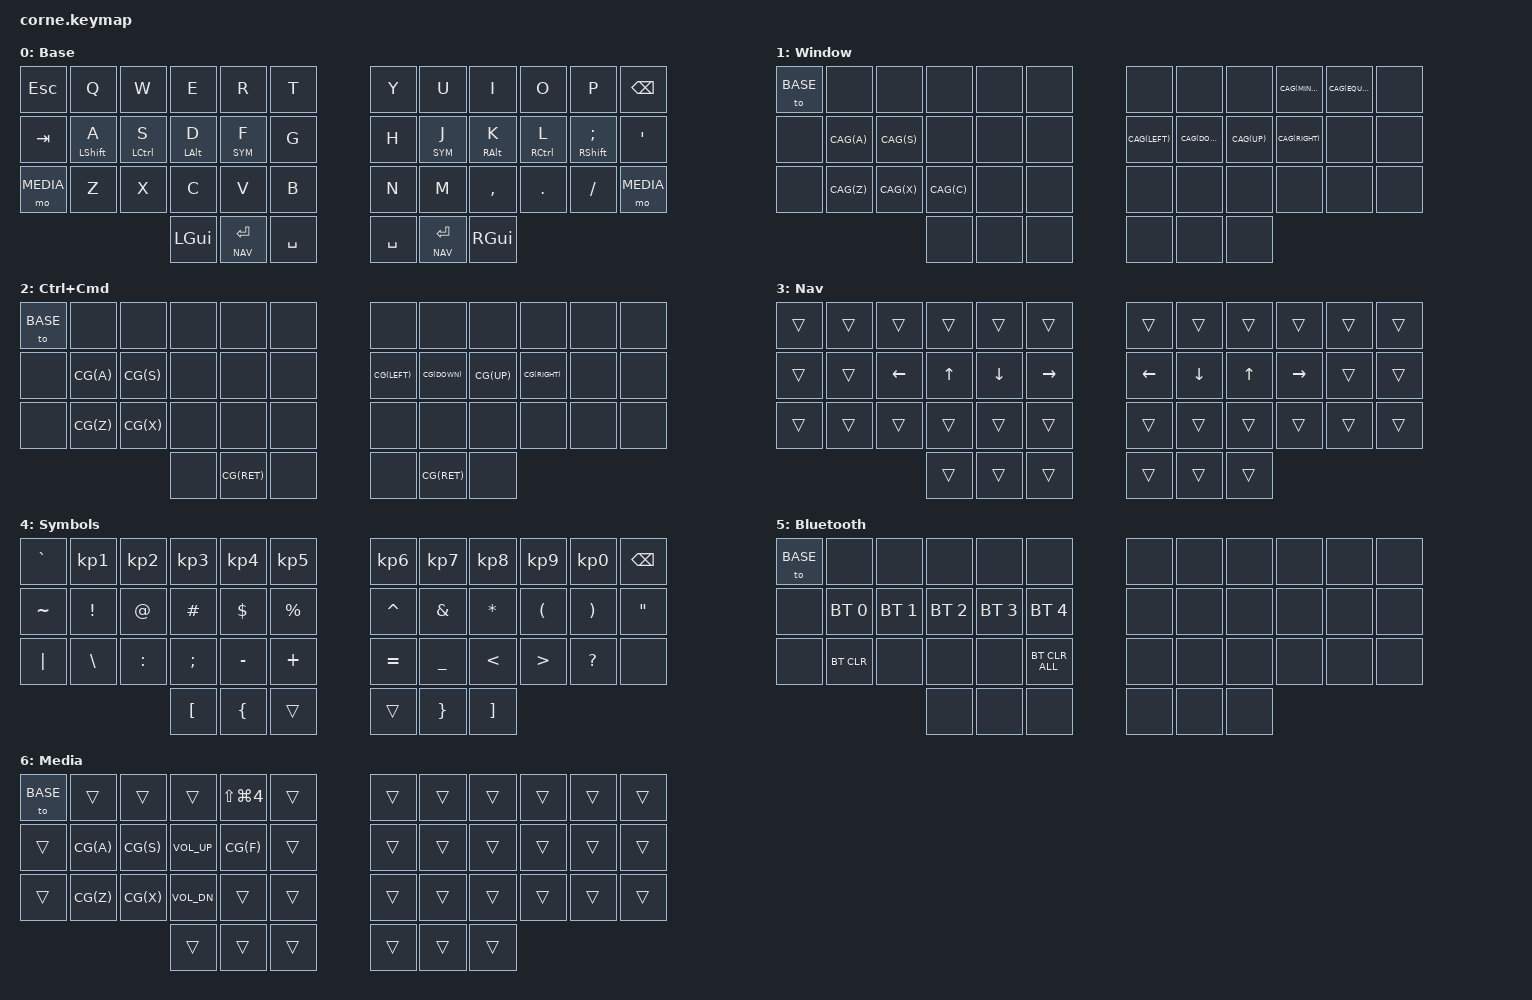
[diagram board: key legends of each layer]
/*
 * Corne keymap ported from the Kyria (Vial export kb_v3_old.vil).
 *
 * Corne key positions:
 *    0  1  2  3  4  5      6  7  8  9 10 11
 *   12 13 14 15 16 17     18 19 20 21 22 23
 *   24 25 26 27 28 29     30 31 32 33 34 35
 *            36 37 38     39 40 41
 *
 * Differences from the Kyria, which has five thumb keys a side and two
 * extra inner keys: the thumbs keep Cmd, Enter and Space, outer to inner;
 * the layer-6 key moves to the empty outer bottom-row key; [ ] { } move to
 * the symbol layer thumbs, leaving Space; the RGB layer becomes the
 * Bluetooth layer.
 */

#include <behaviors.dtsi>
#include <dt-bindings/zmk/bt.h>
#include <dt-bindings/zmk/keys.h>

#define BASE 0
#define WIN 1
#define CTLCMD 2
#define NAV 3
#define SYM 4
#define BT 5
#define MEDIA 6

// Ctrl+Alt+Cmd and Ctrl+Cmd, the Kyria's LCAG() and LCG()
#define CAG(key) LC(LA(LG(key)))
#define CG(key) LC(LG(key))

// QMK mod-tap with tapping term 200 and no permissive hold: hold only
// when held past the tapping term.
&mt {
    flavor = "tap-preferred";
    tapping-term-ms = <200>;
};

&lt {
    flavor = "tap-preferred";
    tapping-term-ms = <200>;
};

/ {
    combos {
        compatible = "zmk,combos";

        win_left {
            timeout-ms = <50>;
            layers = <BASE>;
            key-positions = <26 27 28>;
            bindings = <&mo WIN>;
        };

        win_right {
            timeout-ms = <50>;
            layers = <BASE>;
            key-positions = <31 32 33>;
            bindings = <&mo WIN>;
        };

        ctlcmd_left {
            timeout-ms = <50>;
            layers = <BASE>;
            key-positions = <26 28>;
            bindings = <&mo CTLCMD>;
        };

        ctlcmd_right {
            timeout-ms = <50>;
            layers = <BASE>;
            key-positions = <31 33>;
            bindings = <&mo CTLCMD>;
        };

        bluetooth {
            timeout-ms = <50>;
            layers = <BASE>;
            key-positions = <30 31>;
            bindings = <&mo BT>;
        };
    };

    keymap {
        compatible = "zmk,keymap";

        base {
            display-name = "Base";
            bindings = <
&kp ESC    &kp Q            &kp W            &kp E           &kp R      &kp T        &kp Y      &kp U      &kp I           &kp O            &kp P               &kp BSPC
&kp TAB    &mt LSHFT A      &mt LCTRL S      &mt LALT D      &lt SYM F  &kp G        &kp H      &lt SYM J  &mt RALT K      &mt RCTRL L      &mt RSHFT SEMI      &kp SQT
&mo MEDIA  &kp Z            &kp X            &kp C           &kp V      &kp B        &kp N      &kp M      &kp COMMA       &kp DOT          &kp FSLH            &mo MEDIA
                                             &kp LGUI        &lt NAV RET  &kp SPACE  &kp SPACE  &lt NAV RET  &kp RGUI
            >;
        };

        // Window management (Ctrl+Alt+Cmd), held by X+C+V or M+,+.
        window {
            display-name = "Window";
            bindings = <
&to BASE  &none       &none       &none       &none  &none    &none         &none         &none       &kp CAG(MINUS) &kp CAG(EQUAL) &none
&none     &kp CAG(A)  &kp CAG(S)  &none       &none  &none    &kp CAG(LEFT) &kp CAG(DOWN) &kp CAG(UP) &kp CAG(RIGHT) &none          &none
&none     &kp CAG(Z)  &kp CAG(X)  &kp CAG(C)  &none  &none    &none         &none         &none       &none          &none          &none
                                  &none       &none  &none    &none         &none         &none
            >;
        };

        // Ctrl+Cmd shortcuts, held by X+V or M+.
        ctrl_cmd {
            display-name = "Ctrl+Cmd";
            bindings = <
&to BASE  &none      &none      &none  &none  &none          &none          &none         &none       &none          &none  &none
&none     &kp CG(A)  &kp CG(S)  &none  &none  &none          &kp CG(LEFT)   &kp CG(DOWN)  &kp CG(UP)  &kp CG(RIGHT)  &none  &none
&none     &kp CG(Z)  &kp CG(X)  &none  &none  &none          &none          &none         &none       &none          &none  &none
                                &none  &kp CG(RET)  &none    &none    &kp CG(RET)         &none
            >;
        };

        // Arrows, held by Enter
        nav {
            display-name = "Nav";
            bindings = <
&trans  &trans  &trans    &trans  &trans    &trans       &trans    &trans    &trans  &trans     &trans  &trans
&trans  &trans  &kp LEFT  &kp UP  &kp DOWN  &kp RIGHT    &kp LEFT  &kp DOWN  &kp UP  &kp RIGHT  &trans  &trans
&trans  &trans  &trans    &trans  &trans    &trans       &trans    &trans    &trans  &trans     &trans  &trans
                          &trans  &trans    &trans       &trans    &trans    &trans
            >;
        };

        // Numbers and symbols, held by F or J
        symbols {
            display-name = "Symbols";
            bindings = <
&kp GRAVE  &kp KP_N1  &kp KP_N2  &kp KP_N3  &kp KP_N4   &kp KP_N5      &kp KP_N6   &kp KP_N7  &kp KP_N8  &kp KP_N9  &kp KP_N0  &kp BSPC
&kp TILDE  &kp EXCL   &kp AT     &kp HASH   &kp DOLLAR  &kp PRCNT      &kp CARET   &kp AMPS   &kp STAR   &kp LPAR   &kp RPAR   &kp DQT
&kp PIPE   &kp BSLH   &kp COLON  &kp SEMI   &kp MINUS   &kp PLUS       &kp EQUAL   &kp UNDER  &kp LT     &kp GT     &kp QMARK  &none
                                 &kp LBKT   &kp LBRC    &trans         &trans      &kp RBRC   &kp RBKT
            >;
        };

        // Bluetooth devices, held by N+M
        bluetooth {
            display-name = "Bluetooth";
            bindings = <
&to BASE  &none         &none         &none         &none         &none             &none  &none  &none  &none  &none  &none
&none     &bt BT_SEL 0  &bt BT_SEL 1  &bt BT_SEL 2  &bt BT_SEL 3  &bt BT_SEL 4      &none  &none  &none  &none  &none  &none
&none     &bt BT_CLR    &none         &none         &none         &bt BT_CLR_ALL    &none  &none  &none  &none  &none  &none
                                      &none         &none         &none             &none  &none  &none
            >;
        };

        // Volume, screenshot and Ctrl+Cmd shortcuts, held by the outer
        // bottom-row keys
        media {
            display-name = "Media";
            bindings = <
&to BASE  &trans     &trans     &trans         &kp LS(LG(N4))  &trans       &trans  &trans  &trans  &trans  &trans  &trans
&trans    &kp CG(A)  &kp CG(S)  &kp C_VOL_UP   &kp CG(F)       &trans       &trans  &trans  &trans  &trans  &trans  &trans
&trans    &kp CG(Z)  &kp CG(X)  &kp C_VOL_DN   &trans          &trans       &trans  &trans  &trans  &trans  &trans  &trans
                                &trans         &trans          &trans       &trans  &trans  &trans
            >;
        };

        // Spare layers that ZMK Studio can fill in
        extra1 {
            status = "reserved";
        };

        extra2 {
            status = "reserved";
        };
    };
};
